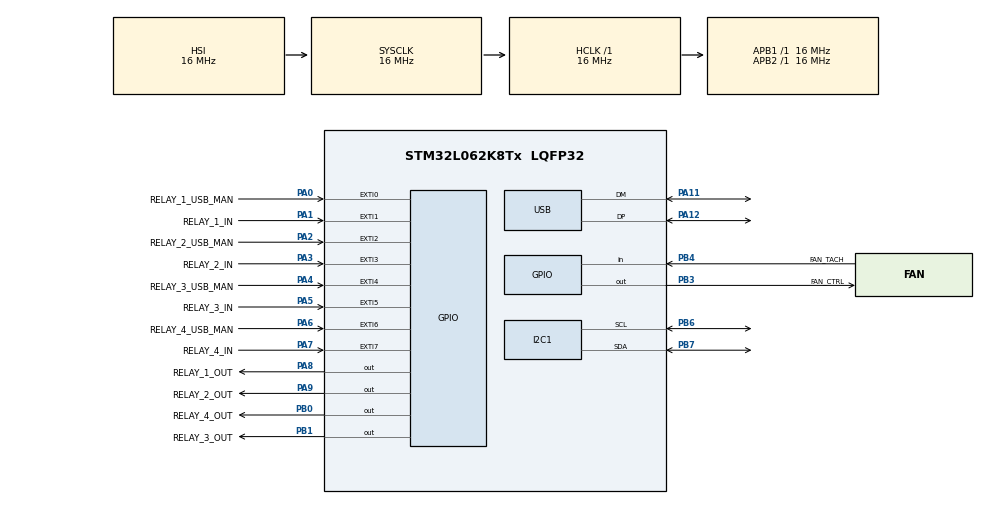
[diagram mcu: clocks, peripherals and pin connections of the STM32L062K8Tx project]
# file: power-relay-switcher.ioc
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I2C1.Timing=0x00303D5B
Mcu.Family=STM32L0
Mcu.Name=STM32L062K8Tx
Mcu.Package=LQFP32
NVIC.EXTI0_1_IRQn=true\:0\:0\:false\:false\:true\:true\:true\:true
NVIC.EXTI2_3_IRQn=true\:0\:0\:false\:false\:true\:true\:true\:true
NVIC.EXTI4_15_IRQn=true\:0\:0\:false\:false\:true\:true\:true\:true
NVIC.RTC_IRQn=true\:0\:0\:false\:false\:true\:true\:true\:true
NVIC.USB_IRQn=true\:0\:0\:false\:false\:true\:false\:true\:true
PA0.GPIO_Label=RELAY_1_USB_MAN
PA0.GPIO_ModeDefaultEXTI=GPIO_MODE_IT_RISING_FALLING
PA0.Signal=GPXTI0
PA1.GPIO_Label=RELAY_1_IN
PA1.GPIO_ModeDefaultEXTI=GPIO_MODE_IT_RISING_FALLING
PA1.Signal=GPXTI1
PA11.Mode=Device
PA11.Signal=USB_DM
PA12.Mode=Device
PA12.Signal=USB_DP
PA13.Mode=Serial_Wire
PA13.Signal=SYS_SWDIO
PA14.Mode=Serial_Wire
PA14.Signal=SYS_SWCLK
PA2.GPIO_Label=RELAY_2_USB_MAN
PA2.GPIO_ModeDefaultEXTI=GPIO_MODE_IT_RISING_FALLING
PA2.Signal=GPXTI2
PA3.GPIO_Label=RELAY_2_IN
PA3.GPIO_ModeDefaultEXTI=GPIO_MODE_IT_RISING_FALLING
PA3.Signal=GPXTI3
PA4.GPIO_Label=RELAY_3_USB_MAN
PA4.GPIO_ModeDefaultEXTI=GPIO_MODE_IT_RISING_FALLING
PA4.Signal=GPXTI4
PA5.GPIO_Label=RELAY_3_IN
PA5.GPIO_ModeDefaultEXTI=GPIO_MODE_IT_RISING_FALLING
PA5.Signal=GPXTI5
PA6.GPIO_Label=RELAY_4_USB_MAN
PA6.GPIO_ModeDefaultEXTI=GPIO_MODE_IT_RISING_FALLING
PA6.Signal=GPXTI6
PA7.GPIO_Label=RELAY_4_IN
PA7.GPIO_ModeDefaultEXTI=GPIO_MODE_IT_RISING_FALLING
PA7.Signal=GPXTI7
PA8.GPIO_Label=RELAY_1_OUT
PA8.Signal=GPIO_Output
PA9.GPIO_Label=RELAY_2_OUT
PA9.Signal=GPIO_Output
PB0.GPIO_Label=RELAY_4_OUT
PB0.Signal=GPIO_Output
PB1.GPIO_Label=RELAY_3_OUT
PB1.Signal=GPIO_Output
PB3.GPIO_Label=FAN_CTRL
PB3.Signal=GPIO_Output
PB4.GPIO_Label=FAN_TACH
PB4.Signal=GPIO_Input
PB6.Mode=I2C
PB6.Signal=I2C1_SCL
PB7.Mode=I2C
PB7.Signal=I2C1_SDA
ProjectManager.HeapSize=0x200
ProjectManager.StackSize=0x400
ProjectManager.TargetToolchain=STM32CubeIDE
RCC.AHBFreq_Value=16000000
RCC.APB1Freq_Value=16000000
RCC.APB1TimFreq_Value=16000000
RCC.APB2Freq_Value=16000000
RCC.APB2TimFreq_Value=16000000
RCC.HCLKFreq_Value=16000000
RCC.HSI16_VALUE=16000000
RCC.HSI48MClockSelection=RCC_USBCLKSOURCE_HSI48
RCC.HSI48_VALUE=48000000
RCC.HSI_VALUE=16000000
RCC.LSE_VALUE=32768
RCC.MSI_VALUE=2097000
RCC.SYSCLKFreq_VALUE=16000000
RCC.SYSCLKSource=RCC_SYSCLKSOURCE_HSI
RCC.VCOOutputFreq_Value=48000000
RTC.AsynchPrediv=124
RTC.SynchPrediv=295
RTC.WakeUpClock=RTC_WAKEUPCLOCK_CK_SPRE_16BITS
RTC.WakeUpCounter=0x00
USB_DEVICE.APP_RX_DATA_SIZE=128
USB_DEVICE.APP_TX_DATA_SIZE=128
USB_DEVICE.CLASS_NAME_FS=CDC
USB_DEVICE.VirtualMode=Cdc
USB_DEVICE.VirtualModeFS=Cdc_FS
VP_RTC_VS_RTC_Activate.Mode=RTC_Enabled
VP_RTC_VS_RTC_WakeUp_intern.Mode=WakeUp
VP_USB_DEVICE_VS_USB_DEVICE_CDC_FS.Mode=CDC_FS
board=custom

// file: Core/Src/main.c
/* USER CODE BEGIN Header */
/**
  ******************************************************************************
  * @file           : main.c
  * @brief          : Main program body
  ******************************************************************************
  * @attention
  *
  * <h2><center>&copy; Copyright (c) 2021 STMicroelectronics.
  * All rights reserved.</center></h2>
  *
  * This software component is licensed by ST under BSD 3-Clause license,
  * the "License"; You may not use this file except in compliance with the
  * License. You may obtain a copy of the License at:
  *                        opensource.org/licenses/BSD-3-Clause
  *
  ******************************************************************************
  */
/* USER CODE END Header */
#include "main.h"
#include "usb_device.h"

/* USER CODE BEGIN Includes */
#include "channels.h"
#include "usbd_cdc_if.h"
#include "STCN75.h"
#include "fan.h"
#include "scpi-def.h"
#include "scpi/scpi.h"
/* USER CODE END Includes */

I2C_HandleTypeDef hi2c1;

RTC_HandleTypeDef hrtc;

/* USER CODE BEGIN PV */
extern bool any_switch_toggled;
STCN75_Typedef temp_sensor;
FanTypedef fan;
scpi_t scpi_context;
extern SCPIIntermediateBufferTypedef scpi_intermediate_buffer;
/* USER CODE END PV */

void SystemClock_Config(void);
static void MX_GPIO_Init(void);
static void MX_I2C1_Init(void);
static void MX_RTC_Init(void);

int main(void)
{

  /* MCU Configuration--------------------------------------------------------*/

  /* Reset of all peripherals, Initializes the Flash interface and the Systick. */
  HAL_Init();

  /* Configure the system clock */
  SystemClock_Config();

  /* Initialize all configured peripherals */
  MX_GPIO_Init();
  MX_USB_DEVICE_Init();
  MX_I2C1_Init();
  MX_RTC_Init();
  /* USER CODE BEGIN 2 */
  SetRelaysPositions(true);
  STNC75_Initialize(&temp_sensor, &hi2c1);
  Fan_Initialize(&fan);
  SCPI_Initialize(&scpi_context);
  /* USER CODE END 2 */

  /* Infinite loop */
  /* USER CODE BEGIN WHILE */
  while (1)
  {
	  if (any_switch_toggled)
	  {
		  SetRelaysPositions(false);
		  any_switch_toggled = false;
	  }

	  if (scpi_intermediate_buffer.new_data_available)
	  {
		  scpi_intermediate_buffer.new_data_available = false;
		  SCPI_Input(&scpi_context, scpi_intermediate_buffer.buffer, scpi_intermediate_buffer.length);
	  }
    /* USER CODE END WHILE */

  }
}

void SystemClock_Config(void)
{
  RCC_OscInitTypeDef RCC_OscInitStruct = {0};
  RCC_ClkInitTypeDef RCC_ClkInitStruct = {0};
  RCC_PeriphCLKInitTypeDef PeriphClkInit = {0};

  /** Configure the main internal regulator output voltage
  */
  __HAL_PWR_VOLTAGESCALING_CONFIG(PWR_REGULATOR_VOLTAGE_SCALE1);

  /** Initializes the RCC Oscillators according to the specified parameters
  * in the RCC_OscInitTypeDef structure.
  */
  RCC_OscInitStruct.OscillatorType = RCC_OSCILLATORTYPE_HSI|RCC_OSCILLATORTYPE_LSI
                              |RCC_OSCILLATORTYPE_HSI48;
  RCC_OscInitStruct.HSIState = RCC_HSI_ON;
  RCC_OscInitStruct.HSICalibrationValue = RCC_HSICALIBRATION_DEFAULT;
  RCC_OscInitStruct.LSIState = RCC_LSI_ON;
  RCC_OscInitStruct.HSI48State = RCC_HSI48_ON;
  RCC_OscInitStruct.PLL.PLLState = RCC_PLL_NONE;
  if (HAL_RCC_OscConfig(&RCC_OscInitStruct) != HAL_OK)
  {
    Error_Handler();
  }

  /** Initializes the CPU, AHB and APB buses clocks
  */
  RCC_ClkInitStruct.ClockType = RCC_CLOCKTYPE_HCLK|RCC_CLOCKTYPE_SYSCLK
                              |RCC_CLOCKTYPE_PCLK1|RCC_CLOCKTYPE_PCLK2;
  RCC_ClkInitStruct.SYSCLKSource = RCC_SYSCLKSOURCE_HSI;
  RCC_ClkInitStruct.AHBCLKDivider = RCC_SYSCLK_DIV1;
  RCC_ClkInitStruct.APB1CLKDivider = RCC_HCLK_DIV1;
  RCC_ClkInitStruct.APB2CLKDivider = RCC_HCLK_DIV1;

  if (HAL_RCC_ClockConfig(&RCC_ClkInitStruct, FLASH_LATENCY_0) != HAL_OK)
  {
    Error_Handler();
  }
  PeriphClkInit.PeriphClockSelection = RCC_PERIPHCLK_I2C1|RCC_PERIPHCLK_RTC
                              |RCC_PERIPHCLK_USB;
  PeriphClkInit.I2c1ClockSelection = RCC_I2C1CLKSOURCE_PCLK1;
  PeriphClkInit.RTCClockSelection = RCC_RTCCLKSOURCE_LSI;
  PeriphClkInit.UsbClockSelection = RCC_USBCLKSOURCE_HSI48;
  if (HAL_RCCEx_PeriphCLKConfig(&PeriphClkInit) != HAL_OK)
  {
    Error_Handler();
  }
}

static void MX_I2C1_Init(void)
{

  hi2c1.Instance = I2C1;
  hi2c1.Init.Timing = 0x00303D5B;
  hi2c1.Init.OwnAddress1 = 0;
  hi2c1.Init.AddressingMode = I2C_ADDRESSINGMODE_7BIT;
  hi2c1.Init.DualAddressMode = I2C_DUALADDRESS_DISABLE;
  hi2c1.Init.OwnAddress2 = 0;
  hi2c1.Init.OwnAddress2Masks = I2C_OA2_NOMASK;
  hi2c1.Init.GeneralCallMode = I2C_GENERALCALL_DISABLE;
  hi2c1.Init.NoStretchMode = I2C_NOSTRETCH_DISABLE;
  if (HAL_I2C_Init(&hi2c1) != HAL_OK)
  {
    Error_Handler();
  }

  /** Configure Analogue filter
  */
  if (HAL_I2CEx_ConfigAnalogFilter(&hi2c1, I2C_ANALOGFILTER_ENABLE) != HAL_OK)
  {
    Error_Handler();
  }

  /** Configure Digital filter
  */
  if (HAL_I2CEx_ConfigDigitalFilter(&hi2c1, 0) != HAL_OK)
  {
    Error_Handler();
  }

}

static void MX_RTC_Init(void)
{

  /** Initialize RTC Only
  */
  hrtc.Instance = RTC;
  hrtc.Init.HourFormat = RTC_HOURFORMAT_24;
  hrtc.Init.AsynchPrediv = 124;
  hrtc.Init.SynchPrediv = 295;
  hrtc.Init.OutPut = RTC_OUTPUT_DISABLE;
  hrtc.Init.OutPutRemap = RTC_OUTPUT_REMAP_NONE;
  hrtc.Init.OutPutPolarity = RTC_OUTPUT_POLARITY_HIGH;
  hrtc.Init.OutPutType = RTC_OUTPUT_TYPE_OPENDRAIN;
  if (HAL_RTC_Init(&hrtc) != HAL_OK)
  {
    Error_Handler();
  }

  /** Enable the WakeUp
  */
  if (HAL_RTCEx_SetWakeUpTimer_IT(&hrtc, 0x00, RTC_WAKEUPCLOCK_CK_SPRE_16BITS) != HAL_OK)
  {
    Error_Handler();
  }

}

static void MX_GPIO_Init(void)
{
  GPIO_InitTypeDef GPIO_InitStruct = {0};

  /* GPIO Ports Clock Enable */
  __HAL_RCC_GPIOA_CLK_ENABLE();
  __HAL_RCC_GPIOB_CLK_ENABLE();

  /*Configure GPIO pin Output Level */
  HAL_GPIO_WritePin(GPIOB, RELAY_4_OUT_Pin|RELAY_3_OUT_Pin|FAN_CTRL_Pin, GPIO_PIN_RESET);

  /*Configure GPIO pin Output Level */
  HAL_GPIO_WritePin(GPIOA, RELAY_1_OUT_Pin|RELAY_2_OUT_Pin, GPIO_PIN_RESET);

  /*Configure GPIO pins : RELAY_1_USB_MAN_Pin RELAY_1_IN_Pin RELAY_2_USB_MAN_Pin RELAY_2_IN_Pin
                           RELAY_3_USB_MAN_Pin RELAY_3_IN_Pin RELAY_4_USB_MAN_Pin RELAY_4_IN_Pin */
  GPIO_InitStruct.Pin = RELAY_1_USB_MAN_Pin|RELAY_1_IN_Pin|RELAY_2_USB_MAN_Pin|RELAY_2_IN_Pin
                          |RELAY_3_USB_MAN_Pin|RELAY_3_IN_Pin|RELAY_4_USB_MAN_Pin|RELAY_4_IN_Pin;
  GPIO_InitStruct.Mode = GPIO_MODE_IT_RISING_FALLING;
  GPIO_InitStruct.Pull = GPIO_NOPULL;
  HAL_GPIO_Init(GPIOA, &GPIO_InitStruct);

  /*Configure GPIO pins : RELAY_4_OUT_Pin RELAY_3_OUT_Pin FAN_CTRL_Pin */
  GPIO_InitStruct.Pin = RELAY_4_OUT_Pin|RELAY_3_OUT_Pin|FAN_CTRL_Pin;
  GPIO_InitStruct.Mode = GPIO_MODE_OUTPUT_PP;
  GPIO_InitStruct.Pull = GPIO_NOPULL;
  GPIO_InitStruct.Speed = GPIO_SPEED_FREQ_LOW;
  HAL_GPIO_Init(GPIOB, &GPIO_InitStruct);

  /*Configure GPIO pins : RELAY_1_OUT_Pin RELAY_2_OUT_Pin */
  GPIO_InitStruct.Pin = RELAY_1_OUT_Pin|RELAY_2_OUT_Pin;
  GPIO_InitStruct.Mode = GPIO_MODE_OUTPUT_PP;
  GPIO_InitStruct.Pull = GPIO_NOPULL;
  GPIO_InitStruct.Speed = GPIO_SPEED_FREQ_LOW;
  HAL_GPIO_Init(GPIOA, &GPIO_InitStruct);

  /*Configure GPIO pin : FAN_TACH_Pin */
  GPIO_InitStruct.Pin = FAN_TACH_Pin;
  GPIO_InitStruct.Mode = GPIO_MODE_INPUT;
  GPIO_InitStruct.Pull = GPIO_NOPULL;
  HAL_GPIO_Init(FAN_TACH_GPIO_Port, &GPIO_InitStruct);

  /* EXTI interrupt init*/
  HAL_NVIC_SetPriority(EXTI0_1_IRQn, 0, 0);
  HAL_NVIC_EnableIRQ(EXTI0_1_IRQn);

  HAL_NVIC_SetPriority(EXTI2_3_IRQn, 0, 0);
  HAL_NVIC_EnableIRQ(EXTI2_3_IRQn);

  HAL_NVIC_SetPriority(EXTI4_15_IRQn, 0, 0);
  HAL_NVIC_EnableIRQ(EXTI4_15_IRQn);

}

/* USER CODE BEGIN 4 */
void HAL_RTCEx_WakeUpTimerEventCallback (RTC_HandleTypeDef *hrtc)
{
	ReadTemperature(&temp_sensor);
	if (temp_sensor.temp_C > temp_sensor.overlimit_temp_C)
	{
		Fan_SetState (&fan, FAN_RUNNING);
		return;
	}
	if (temp_sensor.temp_C < temp_sensor.hysteresis_temp_C)
	{
		Fan_SetState (&fan, FAN_STOPPED);
		return;
	}
}
/* USER CODE END 4 */

void Error_Handler(void)
{
  __disable_irq();
  while (1)
  {
  }
}
